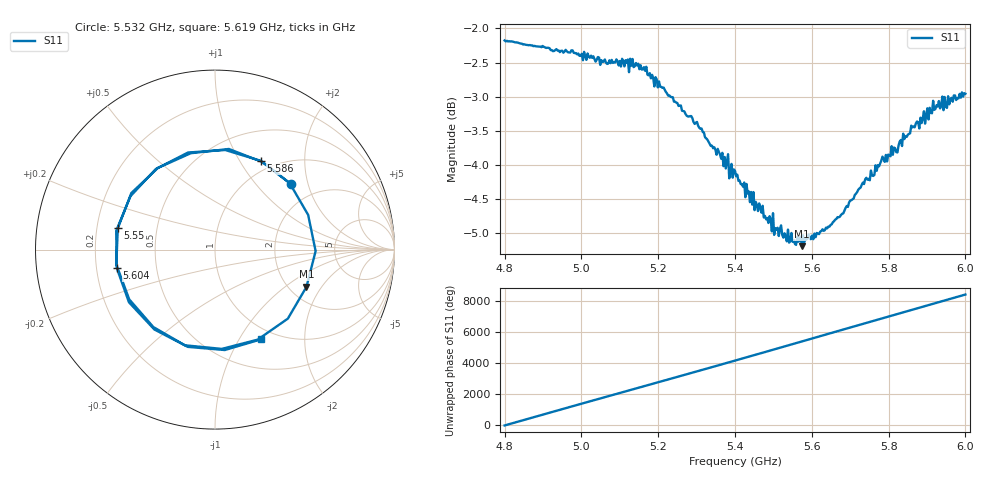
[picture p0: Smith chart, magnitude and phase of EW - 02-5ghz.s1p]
! NanoVNA-App
! Date: 2026-05-22 16:00:04
! Start: 4.8GHz Stop: 6GHz Points: 401
! S-Parameter data: F S11
# Hz S RI R 50
!  Frequency  S11_Real  S11_Imag
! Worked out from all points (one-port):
!   401 points, 4.8 GHz to 6 GHz, reference 50 ohm
!   lowest |S11| = -5.2 dB at 5.574 GHz (marker M1), VSWR 3.45, Z = 123 - j73.2 ohm
!   |S11| at or under -10 dB: nowhere
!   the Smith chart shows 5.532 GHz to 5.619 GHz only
!   S11 on the Smith chart (normalised r, x): 5.532 GHz: 1.48, +1.57; 5.55 GHz: 0.29, +0.10; 5.586 GHz: 0.86, +1.24; 5.604 GHz: 0.29, -0.09; 5.619 GHz: 0.85, -1.24
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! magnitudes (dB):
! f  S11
! 4.8 GHz  -2.2
! 4.95 GHz  -2.3
! 5.1 GHz  -2.5
! 5.163 GHz  -2.6
! 5.25 GHz  -3.1
! 5.307 GHz  -3.5
! 5.337 GHz  -3.7
! 5.4 GHz  -4.1
! 5.445 GHz  -4.6
! 5.469 GHz  -4.7
! 5.481 GHz  -4.8
! 5.493 GHz  -4.8
! 5.508 GHz  -4.9
! 5.514 GHz  -5.0
! 5.532 GHz  -5.0
! 5.55 GHz  -5.1
! 5.574 GHz  -5.2
! 5.586 GHz  -5.1
! 5.604 GHz  -5.1
! 5.619 GHz  -5.0
! 5.676 GHz  -4.7
! 5.7 GHz  -4.5
! 5.778 GHz  -4.0
! 5.817 GHz  -3.8
! 5.85 GHz  -3.6
! 5.865 GHz  -3.4
! 5.922 GHz  -3.2
! 6 GHz  -3.0
